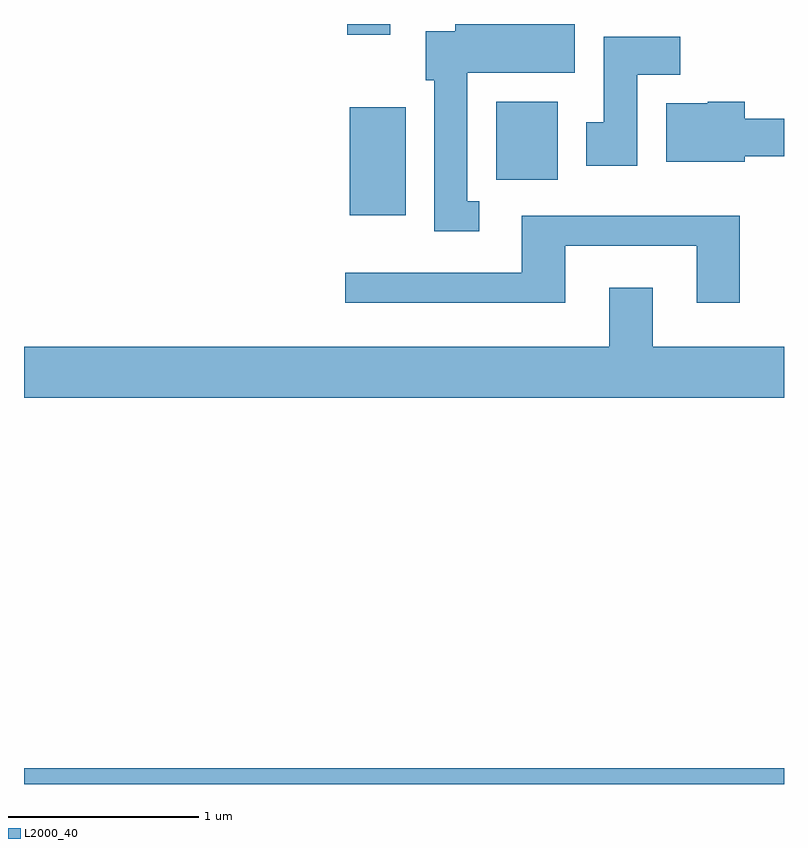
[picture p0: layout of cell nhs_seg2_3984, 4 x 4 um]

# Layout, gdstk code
import gdstk
lib = gdstk.Library(unit=1e-6, precision=1e-09)
def R(c, l, rs):  # rectangles x0, y0, x1, y1
    for r in rs: c.add(gdstk.rectangle(r[:2], r[2:], *l))
def P(c, l, *ps):  # polygons
    for p in ps: c.add(gdstk.Polygon(p, *l))
L2000_40 = (2000, 40)

nhs_seg2_3984 = lib.new_cell('nhs_seg2_3984')
R(nhs_seg2_3984, L2000_40, [(301.611,1081.802,305.611,1081.884), (303.326,1084.796,303.619,1085.364), (304.096,1084.981,304.419,1085.394), (303.311,1085.746,303.539,1085.802)])
P(nhs_seg2_3984, L2000_40, [(304.008,1084.869),(303.944,1084.869),(303.944,1085.546),(304.509,1085.546),(304.509,1085.802),(303.881,1085.802),(303.881,1085.764),(303.726,1085.764),(303.726,1085.506),(303.771,1085.506),(303.771,1084.711),(304.008,1084.711)],
  [(304.839,1085.536),(305.064,1085.536),(305.064,1085.734),(304.661,1085.734),(304.661,1085.284),(304.571,1085.284),(304.571,1085.056),(304.839,1085.056)],
  [(305.404,1085.106),(305.611,1085.106),(305.611,1085.304),(305.404,1085.304),(305.404,1085.394),(305.21,1085.394),(305.21,1085.384),(304.991,1085.384),(304.991,1085.076),(305.404,1085.076)],
  [(304.459,1084.636),(305.151,1084.636),(305.151,1084.336),(305.379,1084.336),(305.379,1084.794),(304.231,1084.794),(304.231,1084.494),(303.303,1084.494),(303.303,1084.336),(304.459,1084.336)],
  [(305.611,1084.104),(304.919,1084.104),(304.919,1084.414),(304.691,1084.414),(304.691,1084.104),(301.611,1084.104),(301.611,1083.836),(305.611,1083.836)])

lib.write_gds('nhs_seg2_3984.gds')
